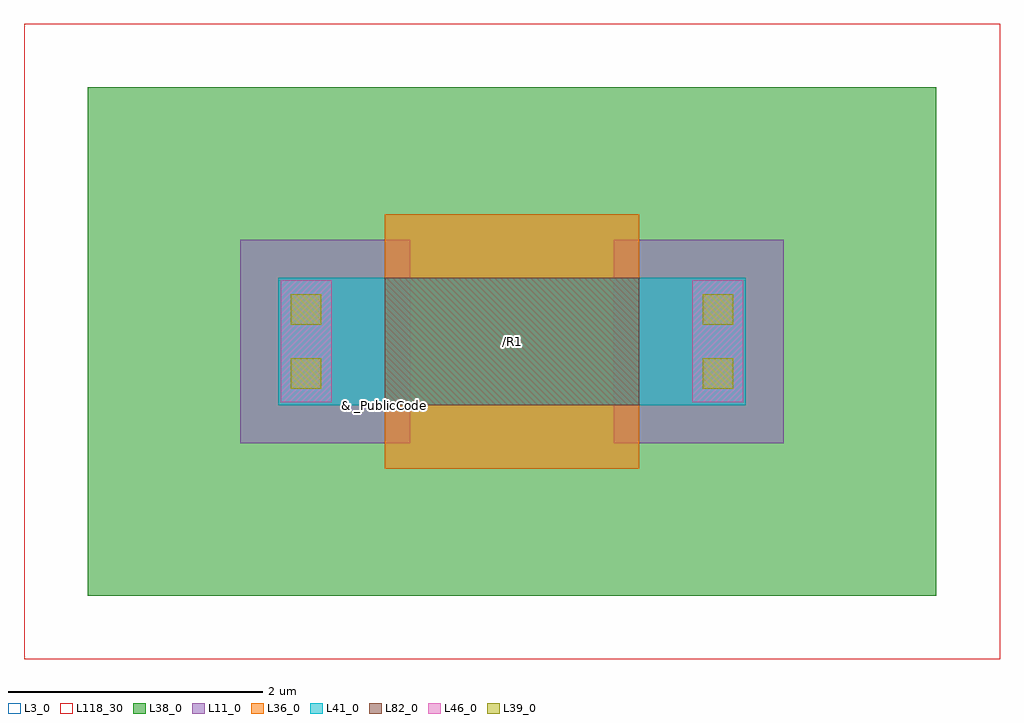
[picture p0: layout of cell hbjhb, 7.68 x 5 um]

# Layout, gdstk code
import gdstk
lib = gdstk.Library(unit=1e-6, precision=1e-09)
def R(c, l, rs):  # rectangles x0, y0, x1, y1
    for r in rs: c.add(gdstk.rectangle(r[:2], r[2:], *l))
L3_0 = (3, 0)
L11_0 = (11, 0)
L36_0 = (36, 0)
L38_0 = (38, 0)
L39_0 = (39, 0)
L41_0 = (41, 0)
L46_0 = (46, 0)
L82_0 = (82, 0)
L118_30 = (118, 30)

hbjhb = lib.new_cell('hbjhb')
R(hbjhb, L3_0, [(-2.43,-2.19,5.25,2.81)])
R(hbjhb, L11_0, [(-0.73,-0.49,0.61,1.11), (2.21,-0.49,3.55,1.11)])
R(hbjhb, L36_0, [(0.41,-0.69,2.41,1.31)])
R(hbjhb, L38_0, [(-1.93,-1.69,4.75,2.31)])
R(hbjhb, L39_0, [(-0.33,-0.06,-0.09,0.18), (2.91,-0.06,3.15,0.18), (-0.33,0.44,-0.09,0.68), (2.91,0.44,3.15,0.68)])
R(hbjhb, L41_0, [(-0.43,-0.19,0.01,0.81), (-0.09,-0.19,0.41,0.81), (0.41,-0.19,2.41,0.81), (2.41,-0.19,2.91,0.81), (2.81,-0.19,3.25,0.81)])
R(hbjhb, L46_0, [(-0.41,-0.17,-0.01,0.79), (2.83,-0.17,3.23,0.79)])
R(hbjhb, L82_0, [(0.41,-0.19,2.41,0.81)])
R(hbjhb, L118_30, [(-2.43,-2.19,5.25,2.81)])
hbjhb.add(gdstk.Label('& _PublicCode', (0.41,-0.19), layer=63, texttype=63))
hbjhb.add(gdstk.Label('/R1', (1.41,0.31), layer=85, texttype=0))
hbjhb.add(gdstk.Label('& Vendor Mentor', (0.41,-0.19), layer=63, texttype=63))
hbjhb.add(gdstk.Label('& Product UMC180FDKMFM', (0.41,-0.19), layer=63, texttype=63))
hbjhb.add(gdstk.Label('& Version A01', (0.41,-0.19), layer=63, texttype=63))
hbjhb.add(gdstk.Label('& Metric 0', (0.41,-0.19), layer=63, texttype=63))

lib.write_gds('hbjhb.gds')
